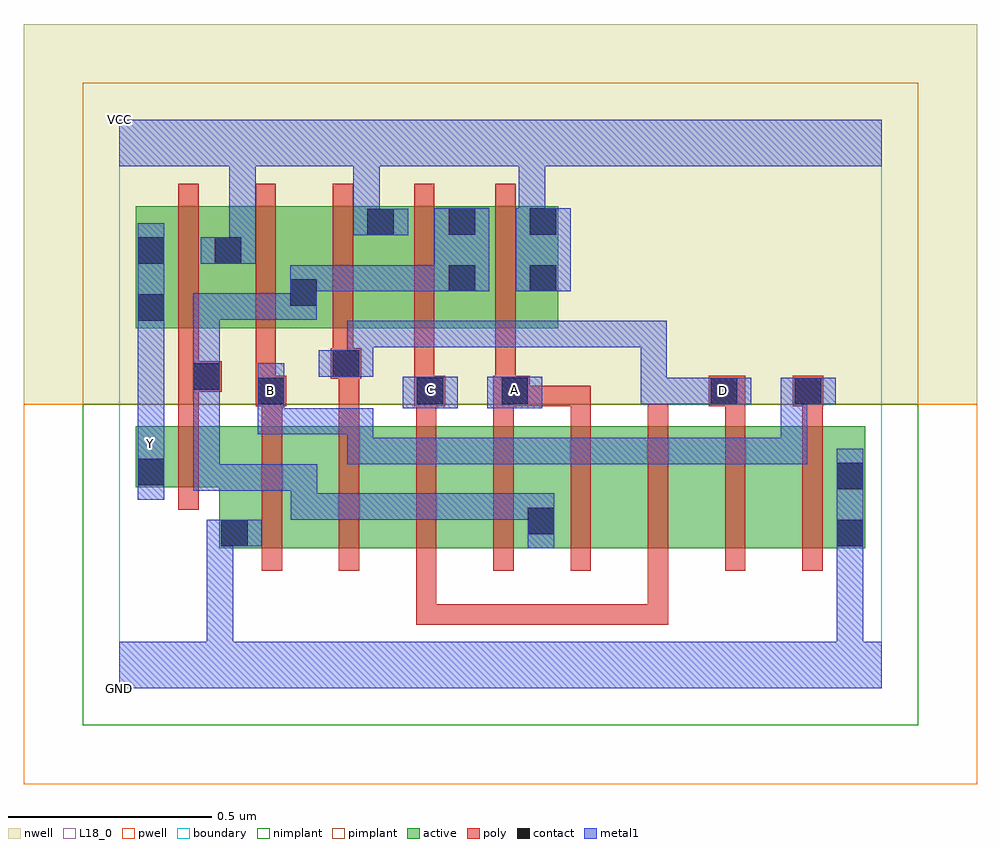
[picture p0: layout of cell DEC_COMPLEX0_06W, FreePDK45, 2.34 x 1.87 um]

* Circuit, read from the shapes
.subckt DEC_COMPLEX0_06W A B C D GND VCC Y
M1 GND n1 Y VSUBS nfet w=0.15u l=0.05u
M2 n2 B GND VSUBS nfet w=0.3u l=0.05u
M3 n3 D n2 VSUBS nfet w=0.3u l=0.05u
M4 n4 C n3 VSUBS nfet w=0.3u l=0.05u
M5 n1 A n4 VSUBS nfet w=0.3u l=0.05u
M6 n5 A n1 VSUBS nfet w=0.3u l=0.05u
M7 n6 C n5 VSUBS nfet w=0.3u l=0.05u
M8 n7 D n6 VSUBS nfet w=0.3u l=0.05u
M9 GND B n7 VSUBS nfet w=0.3u l=0.05u
M10 VCC n1 Y n8 pfet w=0.3u l=0.05u
M11 n1 B VCC n8 pfet w=0.3u l=0.05u
M12 VCC D n1 n8 pfet w=0.3u l=0.05u
M13 n1 C VCC n8 pfet w=0.3u l=0.05u
M14 VCC A n1 n8 pfet w=0.3u l=0.05u
.ends

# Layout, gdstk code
import gdstk
lib = gdstk.Library(unit=1e-6, precision=1e-09)
def R(c, l, rs):  # rectangles x0, y0, x1, y1
    for r in rs: c.add(gdstk.rectangle(r[:2], r[2:], *l))
def A(c, l, x, y, w, h, nx, ny, dx, dy):  # array of equal rectangles
    R(c, l, [(x+i*dx, y+j*dy, x+i*dx+w, y+j*dy+h) for i in range(nx) for j in range(ny)])
active = (1, 0)
pwell = (2, 0)
nwell = (3, 0)
nimplant = (4, 0)
pimplant = (5, 0)
poly = (9, 0)
contact = (10, 0)
metal1 = (11, 0)
L18_0 = (18, 0)
boundary = (235, 0)

dec_complex0_06w = lib.new_cell('DEC_COMPLEX0_06W')
R(dec_complex0_06w, active, [(0.245,0.345,0.47,0.645), (0.245,0.345,0.32,0.637), (0.47,0.345,0.66,0.645), (0.66,0.345,0.85,0.645), (0.85,0.345,1.075,0.645), (1,0.345,1.075,0.645), (1,0.345,1.23,0.645), (1.23,0.345,1.42,0.645), (1.42,0.345,1.61,0.645), (1.61,0.345,1.835,0.645), (1.76,0.345,1.835,0.645), (0.04,0.495,0.32,0.645), (0.04,0.495,0.115,0.645), (0.04,0.887,0.305,1.187), (0.04,0.887,0.115,1.115), (0.23,0.887,0.49,1.187), (0.415,0.887,0.68,1.187), (0.605,0.887,0.88,1.187), (0.805,0.887,1.08,1.187), (1.005,0.887,1.08,1.187), (0.415,0.937,0.49,1.055), (0.23,0.95,0.305,1.115), (0.805,0.95,0.88,1.187), (0.605,1.007,0.68,1.185)])
R(dec_complex0_06w, pwell, [(-0.235,-0.235,2.11,0.7)])
R(dec_complex0_06w, nwell, [(-0.235,0.7,2.11,1.635)])
R(dec_complex0_06w, nimplant, [(-0.09,-0.09,1.965,0.7)])
R(dec_complex0_06w, pimplant, [(-0.09,0.7,1.965,1.49)])
A(dec_complex0_06w, poly, 0.35, 0.29, 0.05, 0.41, 8, 1, 0.19, 0)
A(dec_complex0_06w, poly, 0.73, 0.65, 0.05, 0.095, 3, 1, 0.19, 0)
A(dec_complex0_06w, poly, 0.145, 0.832, 0.05, 0.41, 3, 1, 0.19, 0)
R(dec_complex0_06w, poly, [(0.73,0.157,0.78,0.34), (0.73,0.157,0.78,0.207), (0.73,0.157,0.78,0.207), (0.73,0.157,0.78,0.207), (0.73,0.157,1.027,0.207), (0.977,0.157,1.027,0.207), (0.977,0.157,1.027,0.207), (0.977,0.157,1.027,0.207), (0.977,0.157,1.16,0.207), (1.11,0.157,1.16,0.207), (1.11,0.157,1.35,0.207), (1.3,0.157,1.35,0.34), (1.3,0.157,1.35,0.207), (1.3,0.157,1.35,0.207), (1.3,0.157,1.35,0.207), (0.145,0.44,0.195,0.7), (0.145,0.65,0.195,0.78), (0.35,0.65,0.4,0.745), (0.54,0.65,0.59,0.812), (1.49,0.65,1.54,0.745), (1.68,0.65,1.73,0.745), (0.335,0.695,0.41,0.77), (0.725,0.695,0.802,0.77), (0.92,0.695,1.01,0.77), (0.96,0.695,1.01,0.745), (0.96,0.695,1.01,0.745), (0.96,0.695,1.16,0.745), (1.11,0.695,1.16,0.745), (1.45,0.695,1.54,0.77), (1.657,0.695,1.732,0.77), (0.335,0.72,0.385,0.882), (0.725,0.72,0.775,0.882), (0.925,0.72,0.975,0.882), (0.145,0.73,0.252,0.805), (0.145,0.755,0.195,0.882), (0.52,0.762,0.595,0.837), (0.525,0.787,0.575,0.882), (0.725,0.832,0.775,1.242), (0.925,0.832,0.975,1.242)])
R(dec_complex0_06w, contact, [(0.25,0.35,0.315,0.415), (1.765,0.35,1.83,0.415), (1.005,0.38,1.07,0.445), (1.765,0.49,1.83,0.555), (0.045,0.5,0.11,0.565), (0.34,0.7,0.405,0.765), (0.732,0.7,0.797,0.765), (0.94,0.7,1.005,0.765), (1.455,0.7,1.52,0.765), (1.662,0.7,1.727,0.765), (0.182,0.735,0.247,0.8), (0.525,0.767,0.59,0.832), (0.045,0.905,0.11,0.97), (0.42,0.942,0.485,1.007), (0.81,0.977,0.875,1.042), (1.01,0.977,1.075,1.042), (0.045,1.045,0.11,1.11), (0.235,1.045,0.3,1.11), (0.61,1.115,0.675,1.18), (0.81,1.117,0.875,1.182), (1.01,1.117,1.075,1.182)])
R(dec_complex0_06w, metal1, [(0,0,1.875,0.115), (0.215,0.05,0.28,0.115), (0.215,0.05,0.28,0.115), (0.215,0.05,0.28,0.115), (0.215,0.05,0.28,0.115), (0.215,0.05,0.28,0.415), (1.765,0.05,1.83,0.115), (1.765,0.05,1.83,0.115), (1.765,0.05,1.83,0.38), (1.765,0.315,1.83,0.38), (1.765,0.315,1.83,0.38), (1.765,0.315,1.83,0.59), (1.005,0.345,1.07,0.48), (0.215,0.35,0.35,0.415), (0.422,0.415,0.625,0.48), (0.422,0.415,0.487,0.552), (0.56,0.415,0.625,0.48), (0.56,0.415,0.625,0.48), (0.56,0.415,0.625,0.48), (0.56,0.415,0.795,0.48), (0.73,0.415,0.795,0.48), (0.73,0.415,0.795,0.48), (0.73,0.415,0.795,0.48), (0.73,0.415,1.07,0.48), (1.005,0.415,1.07,0.48), (1.005,0.415,1.07,0.48), (0.045,0.465,0.11,0.6), (0.182,0.487,0.247,0.552), (0.182,0.487,0.417,0.552), (0.182,0.487,0.247,0.835), (0.352,0.487,0.417,0.552), (0.352,0.487,0.487,0.552), (0.045,0.535,0.11,0.6), (0.045,0.535,0.11,0.67), (0.56,0.552,0.625,0.617), (0.56,0.552,0.625,0.617), (0.56,0.552,0.762,0.617), (0.56,0.552,0.625,0.69), (0.697,0.552,0.762,0.617), (0.697,0.552,0.762,0.617), (0.697,0.552,0.762,0.617), (0.697,0.552,1.07,0.617), (1.005,0.552,1.07,0.617), (1.005,0.552,1.207,0.617), (1.142,0.552,1.207,0.617), (1.142,0.552,1.207,0.617), (1.142,0.552,1.207,0.617), (1.142,0.552,1.347,0.617), (1.282,0.552,1.347,0.617), (1.282,0.552,1.347,0.617), (1.282,0.552,1.347,0.617), (1.282,0.552,1.555,0.617), (1.49,0.552,1.555,0.617), (1.49,0.552,1.555,0.617), (1.49,0.552,1.555,0.617), (1.49,0.552,1.692,0.617), (1.627,0.552,1.692,0.617), (1.627,0.552,1.692,0.765), (0.045,0.605,0.11,0.935), (0.34,0.625,0.405,0.69), (0.34,0.625,0.625,0.69), (0.34,0.625,0.405,0.73), (0.34,0.665,0.405,0.73), (0.34,0.665,0.405,0.73), (0.34,0.665,0.405,0.8), (0.697,0.69,0.832,0.767), (0.905,0.69,1.04,0.767), (0.182,0.7,0.247,0.835), (1.282,0.7,1.347,0.765), (1.282,0.7,1.347,0.765), (1.282,0.7,1.347,0.765), (1.282,0.7,1.485,0.765), (1.282,0.7,1.347,0.905), (1.42,0.7,1.485,0.765), (1.42,0.7,1.485,0.765), (1.42,0.7,1.555,0.765), (1.627,0.7,1.692,0.765), (1.627,0.7,1.692,0.765), (1.627,0.7,1.762,0.765), (0.49,0.767,0.625,0.832), (0.56,0.767,0.625,0.832), (0.56,0.767,0.625,0.832), (0.56,0.767,0.625,0.905), (0.182,0.77,0.247,0.835), (0.182,0.77,0.247,0.835), (0.182,0.77,0.247,0.835), (0.182,0.77,0.247,0.835), (0.182,0.77,0.247,0.972), (0.56,0.84,0.625,0.905), (0.56,0.84,0.832,0.905), (0.767,0.84,0.832,0.905), (0.767,0.84,0.832,0.905), (0.767,0.84,0.832,0.905), (0.767,0.84,1.07,0.905), (1.005,0.84,1.07,0.905), (1.005,0.84,1.207,0.905), (1.142,0.84,1.207,0.905), (1.142,0.84,1.207,0.905), (1.142,0.84,1.207,0.905), (1.142,0.84,1.347,0.905), (1.282,0.84,1.347,0.905), (0.045,0.87,0.11,1.145), (0.182,0.907,0.247,0.972), (0.182,0.907,0.385,0.972), (0.32,0.907,0.385,0.972), (0.32,0.907,0.485,0.972), (0.42,0.907,0.485,1.042), (0.42,0.977,0.485,1.042), (0.42,0.977,0.485,1.042), (0.42,0.977,0.625,1.042), (0.56,0.977,0.625,1.042), (0.56,0.977,0.625,1.042), (0.56,0.977,0.625,1.042), (0.56,0.977,0.832,1.042), (0.767,0.977,0.832,1.042), (0.767,0.977,0.84,1.042), (0.775,0.977,0.91,1.182), (0.975,0.977,1.11,1.182), (0.2,1.045,0.335,1.11), (0.27,1.045,0.335,1.35), (0.575,1.115,0.71,1.18), (0.575,1.115,0.64,1.35), (0.982,1.117,1.047,1.182), (0.982,1.117,1.047,1.182), (0.982,1.117,1.047,1.35), (0,1.285,1.875,1.4), (0.27,1.285,0.335,1.35), (0.27,1.285,0.335,1.35), (0.575,1.285,0.64,1.35), (0.575,1.285,0.64,1.35)])
R(dec_complex0_06w, L18_0, [(0,0,1.875,0.115), (0.215,0.05,0.28,0.115), (0.215,0.05,0.28,0.115), (0.215,0.05,0.28,0.115), (0.215,0.05,0.28,0.115), (0.215,0.05,0.28,0.415), (1.765,0.05,1.83,0.115), (1.765,0.05,1.83,0.115), (1.765,0.05,1.83,0.38), (1.765,0.315,1.83,0.38), (1.765,0.315,1.83,0.38), (1.765,0.315,1.83,0.59), (0.215,0.35,0.35,0.415), (0.045,0.465,0.11,0.6), (0.045,0.535,0.11,0.67), (0.045,0.535,0.11,0.6), (0.56,0.552,0.625,0.617), (0.56,0.552,0.625,0.617), (0.56,0.552,0.625,0.69), (0.56,0.552,0.762,0.617), (0.697,0.552,0.762,0.617), (0.697,0.552,0.762,0.617), (0.697,0.552,0.762,0.617), (0.697,0.552,1.07,0.617), (1.005,0.552,1.07,0.617), (1.005,0.552,1.207,0.617), (1.142,0.552,1.207,0.617), (1.142,0.552,1.207,0.617), (1.142,0.552,1.207,0.617), (1.142,0.552,1.347,0.617), (1.282,0.552,1.347,0.617), (1.282,0.552,1.347,0.617), (1.282,0.552,1.347,0.617), (1.282,0.552,1.555,0.617), (1.49,0.552,1.555,0.617), (1.49,0.552,1.555,0.617), (1.49,0.552,1.555,0.617), (1.49,0.552,1.692,0.617), (1.627,0.552,1.692,0.617), (1.627,0.552,1.692,0.765), (0.045,0.57,0.11,0.635), (0.045,0.605,0.11,0.935), (0.34,0.625,0.405,0.69), (0.34,0.625,0.405,0.73), (0.34,0.625,0.625,0.69), (0.34,0.665,0.405,0.8), (0.34,0.665,0.405,0.73), (0.34,0.665,0.405,0.73), (0.697,0.69,0.832,0.767), (0.905,0.69,1.04,0.767), (0.34,0.7,0.405,0.765), (1.282,0.7,1.347,0.765), (1.282,0.7,1.347,0.765), (1.282,0.7,1.347,0.765), (1.282,0.7,1.347,0.905), (1.282,0.7,1.485,0.765), (1.42,0.7,1.485,0.765), (1.42,0.7,1.485,0.765), (1.42,0.7,1.555,0.765), (1.455,0.7,1.52,0.765), (1.627,0.7,1.692,0.765), (1.627,0.7,1.692,0.765), (1.627,0.7,1.762,0.765), (0.732,0.702,0.797,0.767), (0.94,0.702,1.005,0.767), (0.49,0.767,0.625,0.832), (0.56,0.767,0.625,0.832), (0.56,0.767,0.625,0.832), (0.56,0.767,0.625,0.905), (0.56,0.84,0.625,0.905), (0.56,0.84,0.832,0.905), (0.767,0.84,0.832,0.905), (0.767,0.84,0.832,0.905), (0.767,0.84,0.832,0.905), (0.767,0.84,1.07,0.905), (1.005,0.84,1.07,0.905), (1.005,0.84,1.207,0.905), (1.142,0.84,1.207,0.905), (1.142,0.84,1.207,0.905), (1.142,0.84,1.207,0.905), (1.142,0.84,1.347,0.905), (1.282,0.84,1.347,0.905), (0.045,0.87,0.11,1.145), (0.975,0.977,1.11,1.182), (0.2,1.045,0.335,1.11), (0.27,1.045,0.335,1.35), (0.575,1.115,0.71,1.18), (0.575,1.115,0.64,1.35), (0.982,1.117,1.047,1.182), (0.982,1.117,1.047,1.182), (0.982,1.117,1.047,1.35), (0,1.285,1.875,1.4), (0.27,1.285,0.335,1.35), (0.27,1.285,0.335,1.35), (0.575,1.285,0.64,1.35), (0.575,1.285,0.64,1.35)])
R(dec_complex0_06w, boundary, [(0,0,1.875,1.4)])
dec_complex0_06w.add(gdstk.Label('A', (0.972,0.735), layer=11, texttype=0))
dec_complex0_06w.add(gdstk.Label('B', (0.372,0.732), layer=11, texttype=0))
dec_complex0_06w.add(gdstk.Label('C', (0.765,0.735), layer=11, texttype=0))
dec_complex0_06w.add(gdstk.Label('D', (1.487,0.732), layer=11, texttype=0))
dec_complex0_06w.add(gdstk.Label('Y', (0.077,0.602), layer=11, texttype=0))
dec_complex0_06w.add(gdstk.Label('VCC', (0,1.4), layer=11, texttype=0))
dec_complex0_06w.add(gdstk.Label('GND', (0,0), layer=11, texttype=0))

lib.write_gds('DEC_COMPLEX0_06W.gds')
